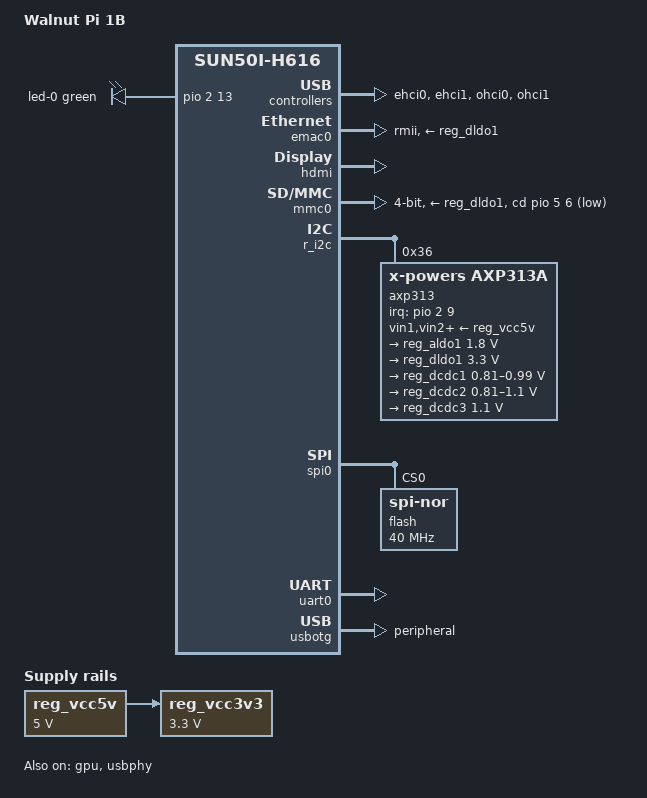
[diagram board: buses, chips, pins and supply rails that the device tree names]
// SPDX-License-Identifier: (GPL-2.0+ OR MIT)
/*
 * Copyright (C) 2024 Walnut Pi
 */

/dts-v1/;

#include "sun50i-h616.dtsi"
#include "sun50i-h616-cpu-opp.dtsi"

#include <dt-bindings/gpio/gpio.h>
#include <dt-bindings/interrupt-controller/arm-gic.h>
#include <dt-bindings/leds/common.h>

/ {
	model = "Walnut Pi 1B";
	compatible = "walnut,walnutpi-1b", "allwinner,sun50i-h616";

	aliases {
		serial0 = &uart0;
	};

	chosen {
		stdout-path = "serial0:115200n8";
	};

	leds {
		compatible = "gpio-leds";

		led-0 {
			function = LED_FUNCTION_STATUS;
			color = <LED_COLOR_ID_GREEN>;
			gpios = <&pio 2 13 GPIO_ACTIVE_HIGH>; /* PC13 */
		};
	};

	reg_vcc5v: vcc5v {
		/* board wide 5V supply directly from the USB-C socket */
		compatible = "regulator-fixed";
		regulator-name = "vcc-5v";
		regulator-min-microvolt = <5000000>;
		regulator-max-microvolt = <5000000>;
		regulator-always-on;
	};

	reg_vcc3v3: vcc3v3 {
		/* SY8089 DC/DC converter */
		compatible = "regulator-fixed";
		regulator-name = "vcc-3v3";
		regulator-min-microvolt = <3300000>;
		regulator-max-microvolt = <3300000>;
		vin-supply = <&reg_vcc5v>;
		regulator-always-on;
	};
};

&cpu0 {
	cpu-supply = <&reg_dcdc2>;
};

&ehci0 {
	status = "okay";
};

&ehci1 {
	status = "okay";
};

&emac0 {
	allwinner,tx-delay-ps = <700>;
	phy-mode = "rmii";
	phy-supply = <&reg_dldo1>;
	status = "okay";
};

&gpu {
	mali-supply = <&reg_dcdc1>;  /* CORRECT: vdd-gpu-sys, NOT dcdc3! */
	status = "okay";
};

&hdmi {
	hvcc-supply = <&reg_aldo1>;
	status = "okay";
};

&mmc0 {
	cd-gpios = <&pio 5 6 GPIO_ACTIVE_LOW>;	/* PF6 */
	bus-width = <4>;
	vmmc-supply = <&reg_dldo1>;
	status = "okay";
};

&ohci0 {
	status = "okay";
};

&ohci1 {
	status = "okay";
};

&pio {
	vcc-pc-supply = <&reg_dldo1>;
	vcc-pf-supply = <&reg_dldo1>;	/* internally via VCC-IO */
	vcc-pg-supply = <&reg_aldo1>;
	vcc-ph-supply = <&reg_dldo1>;	/* internally via VCC-IO */
	vcc-pi-supply = <&reg_dldo1>;
};

&r_i2c {
	status = "okay";

	axp313: pmic@36 {
		compatible = "x-powers,axp313a";
		reg = <0x36>;
		#interrupt-cells = <1>;
		interrupt-controller;
		interrupt-parent = <&pio>;
		interrupts = <2 9 IRQ_TYPE_LEVEL_LOW>;	/* PC9 */

		vin1-supply = <&reg_vcc5v>;
		vin2-supply = <&reg_vcc5v>;
		vin3-supply = <&reg_vcc5v>;

		regulators {
			/* Supplies VCC-PLL, so needs to be always on. */
			reg_aldo1: aldo1 {
				regulator-always-on;
				regulator-min-microvolt = <1800000>;
				regulator-max-microvolt = <1800000>;
				regulator-name = "vcc1v8";
			};

			/* Supplies VCC-IO, so needs to be always on. */
			reg_dldo1: dldo1 {
				regulator-always-on;
				regulator-min-microvolt = <3300000>;
				regulator-max-microvolt = <3300000>;
				regulator-name = "vcc3v3";
			};

			reg_dcdc1: dcdc1 {
				regulator-always-on;
				regulator-min-microvolt = <810000>;
				regulator-max-microvolt = <990000>;
				regulator-name = "vdd-gpu-sys";  /* GPU supply! */
			};

			reg_dcdc2: dcdc2 {
				regulator-always-on;
				regulator-min-microvolt = <810000>;
				regulator-max-microvolt = <1100000>;
				regulator-name = "vdd-cpu";
			};

			reg_dcdc3: dcdc3 {
				regulator-always-on;
				regulator-min-microvolt = <1100000>;
				regulator-max-microvolt = <1100000>;
				regulator-name = "vdd-dram";  /* WRONG for GPU! */
			};
		};
	};
};

&spi0 {
	status = "okay";
	pinctrl-names = "default";
	pinctrl-0 = <&spi0_pins>, <&spi0_cs0_pin>;

	flash@0 {
		#address-cells = <1>;
		#size-cells = <1>;
		compatible = "jedec,spi-nor";
		reg = <0>;
		spi-max-frequency = <40000000>;
	};
};

&uart0 {
	pinctrl-names = "default";
	pinctrl-0 = <&uart0_ph_pins>;
	status = "okay";
};

&usbotg {
	/*
	 * PHY0 pins are connected to a USB-C socket, but a role switch
	 * is not implemented: both CC pins are pulled to GND.
	 *
	 * VBUS is always present, so a fixed peripheral mode
	 * is the best choice.
	 */
	dr_mode = "peripheral";
	status = "okay";
};

&usbphy {
	usb1_vbus-supply = <&reg_vcc5v>;
	status = "okay";
};
